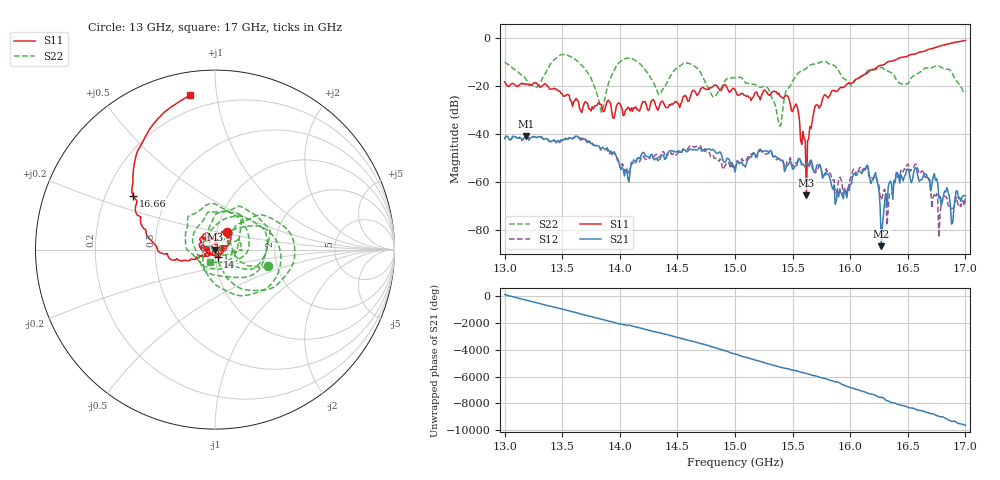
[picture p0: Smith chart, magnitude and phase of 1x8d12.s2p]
!Keysight Technologies,P9374A,MY57211807,A.19.30.04
!Date: Friday, May 08, 2026 15:18:07
!Correction: S11(C  2-Port  )
!S21(C  2-Port  )
!S12(C  2-Port  )
!S22(C  2-Port  )
!S2P File: Measurements: S11, S21, S12, S22:
# Hz S  dB  R 50
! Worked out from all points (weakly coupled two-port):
!   401 points, 13 GHz to 17 GHz, reference 50 ohm
!   highest |S21| = -40.78 dB at 13.19 GHz (marker M1); lowest = -86.6 dB at 16.27 GHz (marker M2)
!   lowest |S11| = -65.5 dB at 15.62 GHz (marker M3), VSWR 1.00, Z = 50 + j0.0187 ohm
!   |S11| at or under -10 dB: start of sweep to 16.33 GHz
!   |S22| runs from -36.7 to -7.0 dB; largest |S21 - S12| = 0.0017
!   S11 on the Smith chart (normalised r, x): 13 GHz: 1.12, +0.23; 14 GHz: 1.03, -0.08; 16.66 GHz: 0.32, +0.27; 17 GHz: 0.12, +0.85
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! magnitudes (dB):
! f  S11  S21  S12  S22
! 13 GHz  -18.4  -42.0  -42.0  -10.2
! 13.19 GHz  -19.3  -40.8  -40.9  -17.6
! 13.67 GHz  -31.1  -42.4  -41.7  -11.5
! 13.84 GHz  -27.8  -46.1  -46.7  -31.0
! 14 GHz  -27.3  -53.6  -53.3  -10.1
! 14.34 GHz  -29.1  -50.7  -49.5  -23.7
! 14.57 GHz  -24.0  -46.8  -46.8  -10.5
! 14.81 GHz  -20.3  -46.3  -49.0  -24.7
! 15 GHz  -21.6  -55.8  -54.1  -16.7
! 15.28 GHz  -23.0  -47.1  -48.2  -20.7
! 15.39 GHz  -24.3  -50.8  -50.4  -36.7
! 15.53 GHz  -27.5  -53.1  -51.9  -15.9
! 15.62 GHz  -65.5  -52.1  -53.1  -12.7
! 15.67 GHz  -34.8  -52.2  -53.6  -11.1
! 15.89 GHz  -22.2  -63.5  -62.8  -13.0
! 16.14 GHz  -15.0  -53.5  -53.8  -14.3
! 16.27 GHz  -11.4  -86.6  -67.3  -12.4
! 16.34 GHz  -9.9  -60.1  -64.5  -14.2
! 16.49 GHz  -7.8  -54.9  -53.1  -19.2
! 16.66 GHz  -5.3  -56.7  -57.9  -12.5
! 16.78 GHz  -3.5  -65.9  -73.7  -12.0
! 17 GHz  -1.2  -65.8  -66.6  -22.5
